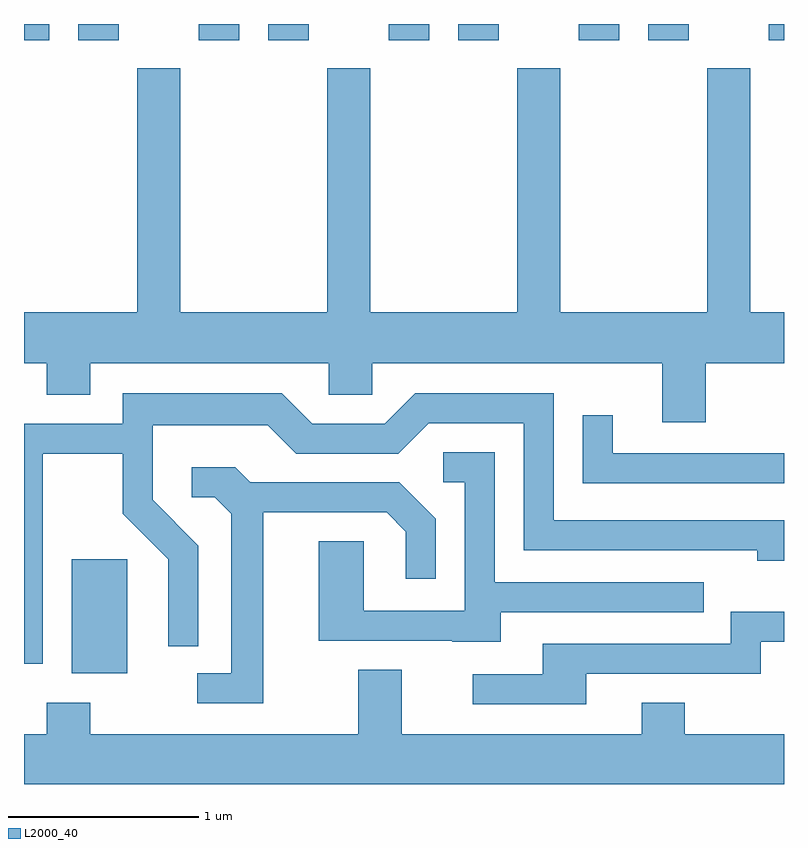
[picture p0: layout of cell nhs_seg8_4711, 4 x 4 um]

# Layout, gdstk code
import gdstk
lib = gdstk.Library(unit=1e-6, precision=1e-09)
def R(c, l, rs):  # rectangles x0, y0, x1, y1
    for r in rs: c.add(gdstk.rectangle(r[:2], r[2:], *l))
def P(c, l, *ps):  # polygons
    for p in ps: c.add(gdstk.Polygon(p, *l))
L2000_40 = (2000, 40)

nhs_seg8_4711 = lib.new_cell('nhs_seg8_4711')
R(nhs_seg8_4711, L2000_40, [(325.861,1916.926,326.154,1917.524), (325.611,1920.256,325.744,1920.342), (325.896,1920.256,326.109,1920.342), (326.531,1920.256,326.744,1920.342), (326.896,1920.256,327.109,1920.342), (327.531,1920.256,327.744,1920.342), (327.896,1920.256,328.109,1920.342), (328.531,1920.256,328.744,1920.342), (328.896,1920.256,329.109,1920.342), (329.531,1920.256,329.611,1920.342)])
P(nhs_seg8_4711, L2000_40, [(329.199,1918.556),(329.611,1918.556),(329.611,1918.824),(329.434,1918.824),(329.434,1920.109),(329.206,1920.109),(329.206,1918.824),(328.434,1918.824),(328.434,1920.109),(328.206,1920.109),(328.206,1918.824),(327.434,1918.824),(327.434,1920.109),(327.206,1920.109),(327.206,1918.824),(326.434,1918.824),(326.434,1920.109),(326.206,1920.109),(326.206,1918.824),(325.611,1918.824),(325.611,1918.556),(325.731,1918.556),(325.731,1918.391),(325.959,1918.391),(325.959,1918.556),(327.216,1918.556),(327.216,1918.391),(327.444,1918.391),(327.444,1918.556),(328.971,1918.556),(328.971,1918.246),(329.199,1918.246)],
  [(325.709,1918.081),(326.131,1918.081),(326.131,1917.764),(326.371,1917.524),(326.371,1917.068),(326.529,1917.068),(326.529,1917.597),(326.289,1917.837),(326.289,1918.231),(326.894,1918.231),(327.044,1918.081),(327.582,1918.081),(327.742,1918.241),(328.241,1918.241),(328.241,1917.571),(329.471,1917.571),(329.471,1917.516),(329.611,1917.516),(329.611,1917.729),(328.399,1917.729),(328.399,1918.399),(327.669,1918.399),(327.509,1918.239),(327.127,1918.239),(326.967,1918.399),(326.131,1918.399),(326.131,1918.239),(325.611,1918.239),(325.611,1916.976),(325.709,1916.976)],
  [(329.611,1918.084),(328.709,1918.084),(328.709,1918.283),(328.551,1918.283),(328.551,1917.926),(329.611,1917.926)],
  [(328.119,1917.246),(329.188,1917.246),(329.188,1917.404),(328.089,1917.404),(328.089,1918.089),(327.818,1918.089),(327.818,1917.931),(327.931,1917.931),(327.931,1917.254),(327.399,1917.254),(327.399,1917.619),(327.161,1917.619),(327.161,1917.096),(327.865,1917.096),(327.865,1917.091),(328.119,1917.091)],
  [(326.869,1917.771),(327.519,1917.771),(327.621,1917.669),(327.621,1917.423),(327.779,1917.423),(327.779,1917.737),(327.587,1917.929),(326.802,1917.929),(326.722,1918.009),(326.493,1918.009),(326.493,1917.851),(326.614,1917.851),(326.701,1917.764),(326.701,1916.924),(326.523,1916.924),(326.523,1916.766),(326.869,1916.766)],
  [(328.569,1916.921),(329.489,1916.921),(329.489,1917.091),(329.611,1917.091),(329.611,1917.249),(329.331,1917.249),(329.331,1917.079),(328.341,1917.079),(328.341,1916.919),(327.973,1916.919),(327.973,1916.761),(328.569,1916.761)],
  [(329.611,1916.604),(329.089,1916.604),(329.089,1916.769),(328.861,1916.769),(328.861,1916.604),(327.599,1916.604),(327.599,1916.944),(327.371,1916.944),(327.371,1916.604),(325.959,1916.604),(325.959,1916.769),(325.731,1916.769),(325.731,1916.604),(325.611,1916.604),(325.611,1916.342),(329.611,1916.342)])

lib.write_gds('nhs_seg8_4711.gds')
